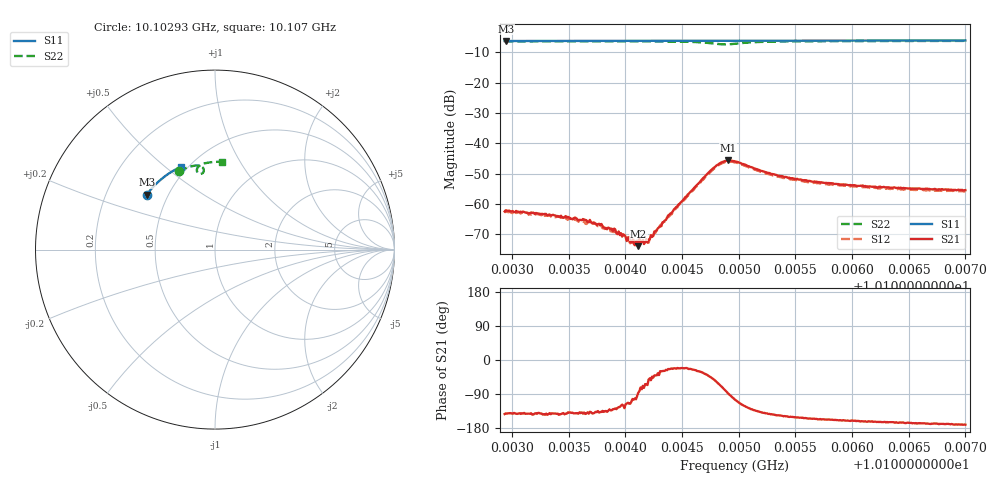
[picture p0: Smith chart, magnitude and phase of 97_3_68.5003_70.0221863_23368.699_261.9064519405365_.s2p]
#  HZ  S  RI  R  50.00
! Rohde & Schwarz Vector Network Analyzer
! Rohde-Schwarz,ZNB20-2Port,1311601062101988,3.16
! Created: UTC 3/20/2024, 4:52:55 PM
! freq[Hz]  re:S11  im:S11  re:S21  im:S21  re:S12  im:S12  re:S22  im:S22
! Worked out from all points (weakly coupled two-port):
!   401 points, 10.10293 GHz to 10.107 GHz, reference 50 ohm
!   highest |S21| = -45.64 dB at 10.10491 GHz (marker M1); lowest = -73.9 dB at 10.10411 GHz (marker M2)
!   lowest |S11| = -6.2 dB at 10.10294 GHz (marker M3), VSWR 2.91, Z = 19.1 + j15.4 ohm
!   |S11| at or under -10 dB: nowhere
!   |S22| runs from -7.4 to -6.2 dB; largest |S21 - S12| = 0.00053
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1.0102934e10  -0.3802 0.3063  -0.000597 -0.000455  -0.000525 -0.000516  -0.202 0.4361
1.0102944e10  -0.3797 0.3068  -0.00061 -0.000497  -0.000528 -0.000515  -0.2014 0.4363
1.0103422e10  -0.3619 0.3298  -0.000483 -0.000361  -0.000472 -0.000414  -0.1725 0.45
1.0103615e10  -0.3543 0.3388  -0.000404 -0.000358  -0.000358 -0.000375  -0.1598 0.455
1.0103727e10  -0.3497 0.3438  -0.000361 -0.000309  -0.00034 -0.000353  -0.1524 0.4577
1.0103889e10  -0.3431 0.3511  -0.000231 -0.000276  -0.000198 -0.000282  -0.1414 0.4613
1.0103981e10  -0.3392 0.3552  -0.000158 -0.000274  -0.000141 -0.000271  -0.1348 0.4631
1.0104062e10  -0.3358 0.3589  -5.68e-05 -0.00025  -6.52e-05 -0.000233  -0.1288 0.4648
1.0104093e10  -0.3344 0.3602  -5.69e-05 -0.000233  -6.41e-06 -0.00021  -0.1264 0.4653
1.0104113e10  -0.3336 0.361  1.18e-05 -0.000201  1.05e-05 -0.000238  -0.125 0.4659
1.0104184e10  -0.3305 0.364  0.000114 -0.000234  0.000139 -0.000219  -0.1193 0.4669
1.0104225e10  -0.3288 0.3657  0.000183 -0.000245  0.000218 -0.000185  -0.116 0.4674
1.0104296e10  -0.3255 0.3689  0.000316 -0.000263  0.000342 -0.000196  -0.1099 0.4684
1.0104449e10  -0.3189 0.3752  0.000817 -0.000345  0.000842 -0.000249  -0.0953 0.4687
1.0104733e10  -0.306 0.3865  0.00244 -0.00218  0.00252 -0.00186  -0.0634 0.4489
1.0104825e10  -0.3016 0.3901  0.00204 -0.0041  0.00231 -0.00372  -0.0662 0.429
1.0104906e10  -0.2981 0.393  0.00016 -0.00522  0.00063 -0.00497  -0.0847 0.4217
1.0104967e10  -0.2952 0.3954  -0.0013 -0.00488  -0.00082 -0.00478  -0.0969 0.4292
1.0105283e10  -0.2803 0.4074  -0.00253 -0.0019  -0.00225 -0.00203  -0.0846 0.469
1.0105649e10  -0.2623 0.4204  -0.00212 -0.00098  -0.00195 -0.00115  -0.0551 0.481
1.010633e10  -0.2272 0.442  -0.0018 -0.000514  -0.00165 -0.000635  -0.00687 0.4882
1.0107001e10  -0.1911 0.4606  -0.00167 -0.000268  -0.00155 -0.000415  0.0377 0.4888
